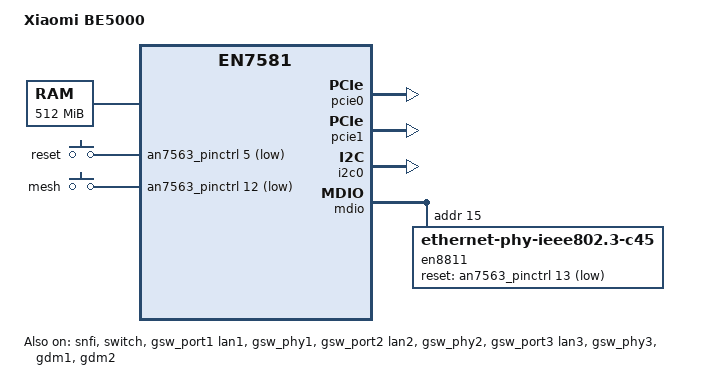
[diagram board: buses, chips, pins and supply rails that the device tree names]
// SPDX-License-Identifier: (GPL-2.0-only OR BSD-2-Clause)
/dts-v1/;

/* Bootloader installs ATF here (BL31 resident region, ~256 KiB). */
/memreserve/ 0x80000000 0x88000;

#include <dt-bindings/leds/common.h>
#include <dt-bindings/gpio/gpio.h>
#include <dt-bindings/input/input.h>
#include "an7563.dtsi"

/ {
	model = "Xiaomi BE5000";
	compatible = "xiaomi,be5000", "airoha,an7563", "airoha,en7581";

	aliases {
		serial0 = &uart1;
	};

	chosen {
		bootargs = "console=ttyS0,115200 earlycon initcall_debug ignore_loglevel";
		stdout-path = "serial0:115200n8";
	};

	memory@80000000 {
		device_type = "memory";
		reg = <0x80000000 0x20000000>;
	};

	/*
	 * Confirmed against a live BE5000: /sys/kernel/debug/gpio shows
	 * gpio-5 "reset" and gpio-12 "mesh" held on gpiochip0 (0-31),
	 * matching the vendor gpio-keys-polled node in the stock dtb.
	 */
	gpio-keys {
		compatible = "gpio-keys";

		button-reset {
			label = "reset";
			linux,code = <KEY_RESTART>;
			gpios = <&an7563_pinctrl 5 GPIO_ACTIVE_LOW>;
			debounce-interval = <60>;
		};

		button-mesh {
			label = "mesh";
			linux,code = <KEY_WPS_BUTTON>;
			gpios = <&an7563_pinctrl 12 GPIO_ACTIVE_LOW>;
			debounce-interval = <60>;
		};
	};
};

/*
 * TODO: not yet added to an7563.dtsi (no pwm controller node exists
 * there yet). Stock dtb confirms:
 *   pwm@1fbf0234 { compatible = "airoha,airoha-pwm";
 *                   reg = <0x1fbf0234 0x20>, <0x1fbf0268 0x4>, <0x1fbf0298 0x24>; }
 *   channel 1 = orange, channel 4 = blue (pwm-rgb consumer node)
 * Needs an "airoha,en7581-pwm"-compatible node added to an7563.dtsi
 * first (mirroring en7581_pwm in an7581.dtsi) before this can be
 * wired up here. Left out of this diff on purpose - separate commit.
 */

&pcie0 {
	status = "okay";
};

&pcie1 {
	status = "okay";
};

&snfi {
	status = "okay";
};

&i2c0 {
	status = "okay";
};

&spi_nand {
	airoha,bmt;

	partitions {
		compatible = "fixed-partitions";
		#address-cells = <1>;
		#size-cells = <1>;

		partition@0 {
			label = "u-boot";
			reg = <0x0 0x60000>;
			read-only;
		};

		partition@1 {
			label = "u-boot-env";
			reg = <0x60000 0x20000>;
		};

		/*
		 * MAC offsets confirmed against a real Factory partition
		 * dump: chip-id 0x7992 (LE) at offset 0, two MAC addresses
		 * at 0x004/0x00a (mt76/mt7996-format eeprom, MT_EE_MAC_ADDR
		 * / MT_EE_MAC_ADDR2). Which MAC belongs to which radio
		 * band (2.4 vs 5 GHz) is not yet confirmed on real hardware
		 * - verify against `iw phy` once wifi@ nodes exist.
		 */
		partition@2 {
			label = "art";
			reg = <0x80000 0x40000>;
			read-only;

			nvmem-layout {
				compatible = "fixed-layout";
				#address-cells = <1>;
				#size-cells = <1>;

				macaddr_wifi0: macaddr@4 {
					reg = <0x4 0x6>;
				};

				macaddr_wifi1: macaddr@a {
					reg = <0xa 0x6>;
				};
			};
		};

		partition@3 {
			compatible = "denx,fit";
			label = "firmware";
			reg = <0xc0000 0x4000000>;
		};
	};
};

&eth {
	status = "disabled";
};

/*
 * Keeping npu disabled for now - the real fix this round is the
 * switch conduit port (see an7563.dtsi), which was the actual
 * missing piece. Re-enable npu as a separate, isolated test later.
 */
&npu {
	status = "disabled";
};

&switch {
	status = "okay";
};

&gsw_port1 {
	status = "okay";
	label = "lan1";
};

&gsw_phy1 {
	status = "okay";
};

&gsw_port2 {
	status = "okay";
	label = "lan2";
};

&gsw_phy2 {
	status = "okay";
};

&gsw_port3 {
	status = "okay";
	label = "lan3";
};

&gsw_phy3 {
	status = "okay";
};

/*
 * EN8811H 2.5G PHY. MDIO address 0xf and reset-gpio 13/active-low
 * confirmed against a live BE5000: dmesg shows
 * "Airoha EN8811H mdio-bus--1:0f: PHY = 3a2 - a411", and
 * /etc/preinit's TCSUPPORT_CPU_AN7552 branch does:
 *   echo 13 > .../export; direction=out; value=0; sleep 1; value=1
 * i.e. active-low reset held for 1 full second before release.
 */
&mdio {
	en8811: ethernet-phy@f {
		compatible = "ethernet-phy-ieee802.3-c45";
		reg = <0xf>;

		reset-gpios = <&an7563_pinctrl 13 GPIO_ACTIVE_LOW>;
		reset-assert-us = <1000000>;
		reset-deassert-us = <20000>;
	};
};

/*
 * gdm1 is now the switch's conduit port (see port@6 inside
 * switch/ports in an7563.dtsi, "ethernet = <&gdm1>") - this is what
 * makes gsw_port1/2/3 (lan1/2/3) actually reachable from the network
 * stack. It carries no external PHY of its own, just needs enabling.
 */
&gdm1 {
	status = "okay";
};

/*
 * EN8811H WAN now lives on gdm2 instead of gdm1, since gdm1 is the
 * switch's conduit port (see above) and can't simultaneously be a
 * standalone MAC for an external PHY.
 *
 * MAC address: nvmem-cells intentionally NOT set here for now.
 * Wiring gdm1's nvmem-cells to macaddr_wifi0 (an "art" partition
 * cell) previously caused a confirmed kernel panic during probe
 * (bus_find_device/klist_next crash inside of_get_mac_address_nvmem,
 * seen via full serial log + call trace on real hardware) - looked
 * like a race between the MTD/nvmem provider registering and eth's
 * probe running. Needs investigation into probe ordering /
 * EPROBE_DEFER handling before re-adding a real MAC source; for now
 * the driver falls back to a random MAC on boot.
 *
 * TODO: confirm gdm2 (reg=2) is really the correct MAC index for
 * EN8811H on this SoC - chosen by analogy with an7581.dtsi's gdm
 * numbering scheme, not yet verified via dmesg.
 */
&gdm2 {
	status = "okay";

	openwrt,netdev-name = "wan";

	phy-handle = <&en8811>;
	phy-mode = "2500base-x";
};
